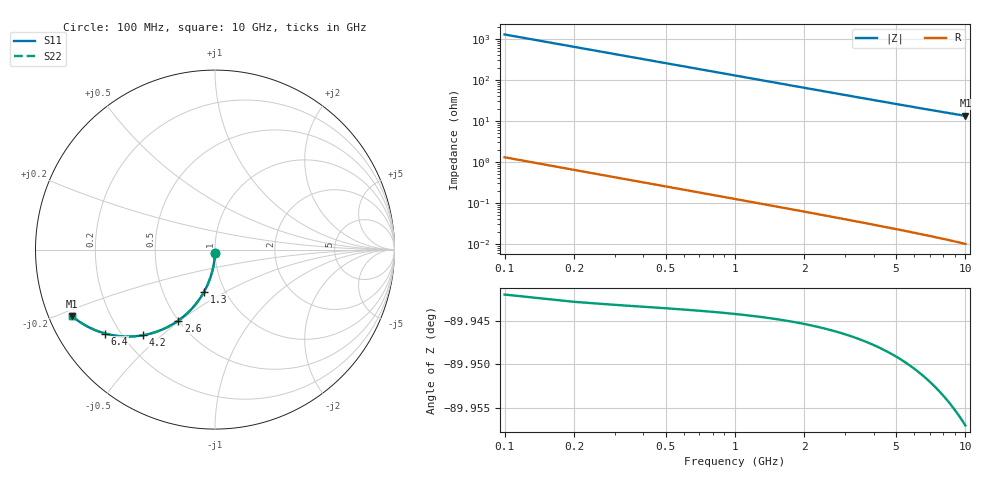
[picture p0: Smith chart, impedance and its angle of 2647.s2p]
# Hz S RI R 50.00
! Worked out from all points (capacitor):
!   100 points, 100 MHz to 10 GHz, reference 50 ohm
!   read as one part in shunt: C = 1.24 pF near 100 MHz
!   lowest |Z| = 13.3 ohm at 10 GHz (marker M1)
!   S11 on the Smith chart (normalised r, x): 100 MHz: 1.00, -0.04; 1.3 GHz: 0.80, -0.40; 2.6 GHz: 0.50, -0.49; 4.2 GHz: 0.28, -0.44; 6.4 GHz: 0.14, -0.33; 10 GHz: 0.07, -0.22
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1e8  -0.000271 -0.0191  0.9995 -0.0197  0.9995 -0.0197  -0.000271 -0.0191
2e8  -0.00142 -0.0382  0.9983 -0.0394  0.9983 -0.0394  -0.00142 -0.0382
3e8  -0.00332 -0.0573  0.9964 -0.059  0.9964 -0.059  -0.00332 -0.0573
4e8  -0.00596 -0.0761  0.9938 -0.0785  0.9938 -0.0785  -0.00596 -0.0761
5e8  -0.00933 -0.0948  0.9904 -0.0978  0.9904 -0.0978  -0.00933 -0.0948
6e8  -0.0134 -0.1133  0.9863 -0.1169  0.9863 -0.1169  -0.0134 -0.1133
7e8  -0.0182 -0.1316  0.9815 -0.1357  0.9815 -0.1357  -0.0182 -0.1316
8e8  -0.0237 -0.1495  0.9761 -0.1543  0.9761 -0.1543  -0.0237 -0.1495
1e9  -0.0365 -0.1844  0.9632 -0.1903  0.9632 -0.1903  -0.0365 -0.1844
1.3e9  -0.0602 -0.2338  0.9395 -0.2415  0.9395 -0.2415  -0.0602 -0.2338
1.5e9  -0.0786 -0.2644  0.9211 -0.2733  0.9211 -0.2733  -0.0786 -0.2644
1.8e9  -0.1094 -0.3065  0.8903 -0.3172  0.8903 -0.3172  -0.1094 -0.3065
2.2e9  -0.1551 -0.3552  0.8445 -0.3682  0.8445 -0.3682  -0.1551 -0.3552
2.6e9  -0.2042 -0.395  0.7954 -0.4105  0.7954 -0.4105  -0.2042 -0.395
3.4e9  -0.3053 -0.45  0.6942 -0.4702  0.6942 -0.4702  -0.3053 -0.45
4.2e9  -0.4019 -0.4773  0.5975 -0.5024  0.5975 -0.5024  -0.4019 -0.4773
5.1e9  -0.4985 -0.4842  0.5008 -0.5147  0.5008 -0.5147  -0.4985 -0.4842
6.4e9  -0.6114 -0.4675  0.3876 -0.506  0.3876 -0.506  -0.6114 -0.4675
6.7e9  -0.6332 -0.4611  0.3657 -0.5014  0.3657 -0.5014  -0.6332 -0.4611
7.5e9  -0.6847 -0.4412  0.314 -0.4865  0.314 -0.4865  -0.6847 -0.4412
8.4e9  -0.7324 -0.4162  0.266 -0.4672  0.266 -0.4672  -0.7324 -0.4162
1e10  -0.7965 -0.3706  0.2013 -0.4318  0.2013 -0.4318  -0.7965 -0.3706
